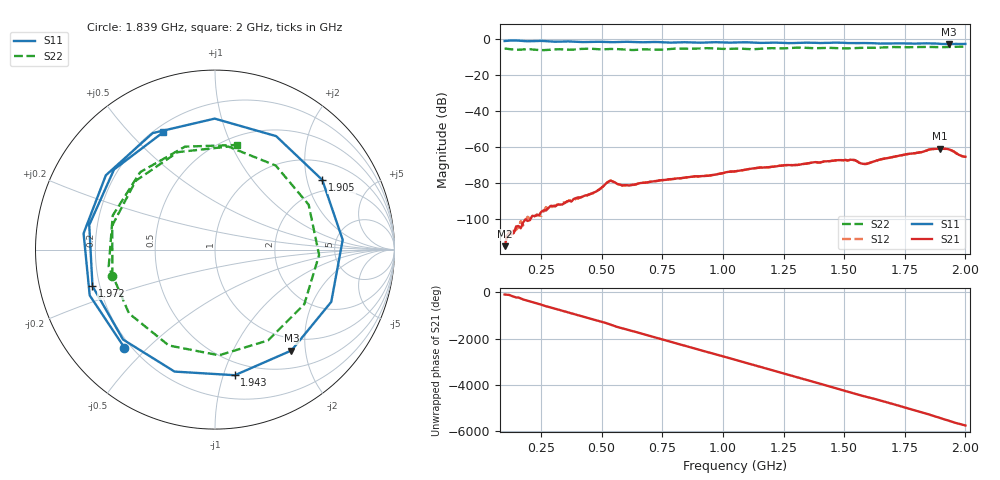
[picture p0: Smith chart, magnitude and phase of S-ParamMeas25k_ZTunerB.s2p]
!Keysight Technologies,N5242B,MY48420967,A.15.65.19
!Date: Monday, December 19, 2022 09:36:41
!Correction: S11(C  2-Port  )
!S21(C  2-Port  )
!S12(C  2-Port  )
!S22(C  2-Port  )
!S2P File: Measurements: S11, S21, S12, S22:
# Hz S  dB  R 50
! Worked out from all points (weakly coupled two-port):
!   201 points, 100 MHz to 2 GHz, reference 50 ohm
!   highest |S21| = -61.10 dB at 1.895 GHz (marker M1); lowest = -115.3 dB at 100 MHz (marker M2)
!   lowest |S11| = -3.0 dB at 1.933 GHz (marker M3), VSWR 5.79, Z = 38.9 - j87.1 ohm
!   |S11| at or under -10 dB: nowhere
!   |S22| runs from -6.4 to -4.4 dB; largest |S21 - S12| = 4.8e-06
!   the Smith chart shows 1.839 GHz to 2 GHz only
!   S11 on the Smith chart (normalised r, x): 1.839 GHz: 0.17, -0.43; 1.905 GHz: 1.58, +2.49; 1.943 GHz: 0.39, -1.09; 1.972 GHz: 0.17, -0.14; 2 GHz: 0.23, +0.63
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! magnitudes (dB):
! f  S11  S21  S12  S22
! 100 MHz  -1.3  -115.3  -110.9  -5.4
! 252 MHz  -1.2  -96.1  -98.5  -6.4
! 423 MHz  -1.9  -87.7  -87.9  -5.7
! 518 MHz  -1.9  -80.5  -80.5  -5.9
! 537 MHz  -1.9  -78.9  -78.9  -5.7
! 556 MHz  -1.9  -80.0  -79.9  -5.7
! 679.5 MHz  -2.0  -80.1  -79.9  -5.9
! 736.5 MHz  -1.9  -78.8  -78.9  -6.1
! 945.5 MHz  -2.0  -76.1  -76.0  -5.3
! 1.05 GHz  -2.1  -73.8  -73.8  -5.5
! 1.126 GHz  -2.2  -72.1  -72.0  -5.8
! 1.373 GHz  -2.3  -68.7  -68.7  -5.3
! 1.525 GHz  -2.4  -67.3  -67.3  -5.3
! 1.591 GHz  -2.4  -69.6  -69.6  -5.1
! 1.687 GHz  -2.7  -66.2  -66.2  -4.7
! 1.839 GHz  -2.6  -62.2  -62.3  -4.6
! 1.895 GHz  -2.9  -61.1  -61.1  -4.8
! 1.905 GHz  -2.9  -61.1  -61.2  -4.7
! 1.933 GHz  -3.0  -61.6  -61.6  -4.6
! 1.943 GHz  -3.0  -62.1  -62.1  -4.5
! 1.972 GHz  -2.9  -64.5  -64.5  -4.4
! 2 GHz  -2.9  -65.7  -65.7  -4.5
